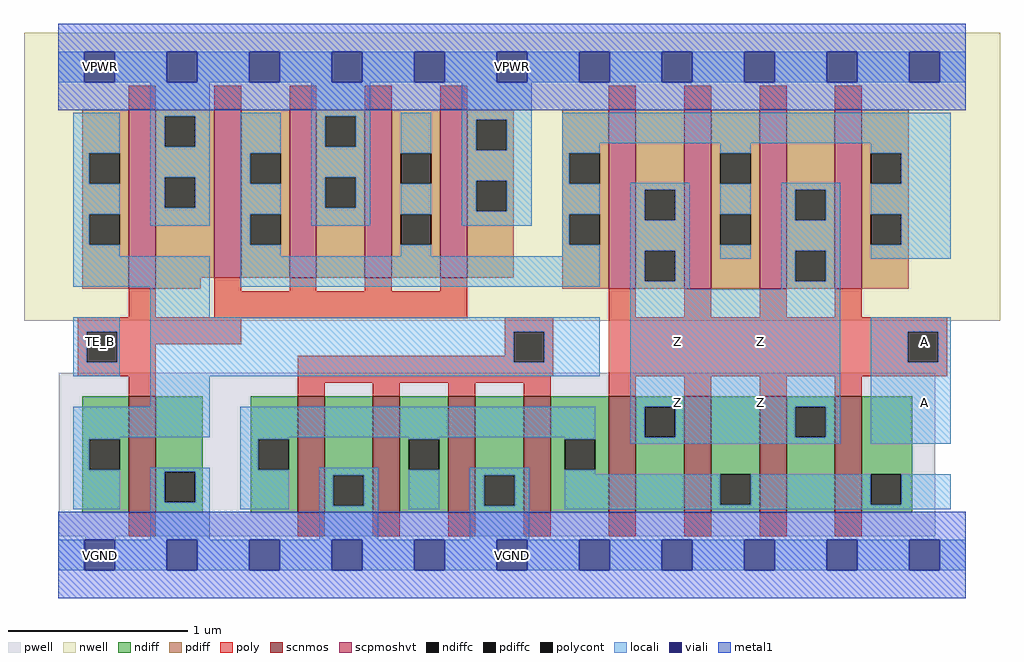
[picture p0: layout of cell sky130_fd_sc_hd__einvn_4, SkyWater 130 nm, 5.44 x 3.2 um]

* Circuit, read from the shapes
.subckt sky130_fd_sc_hd__einvn_4 A TE_B VGND VNB VPB VPWR Z
XM1 VGND TE_B n1 VNB sky130_fd_pr__nfet_01v8 w=0.65 l=0.15
XM2 VGND n1 n2 VNB sky130_fd_pr__nfet_01v8 w=0.65 l=0.15 m=4
XM3 Z A n2 VNB sky130_fd_pr__nfet_01v8 w=0.65 l=0.15 m=4
XM4 VPWR TE_B n1 VPB sky130_fd_pr__pfet_01v8_hvt w=1 l=0.15
XM5 n3 TE_B VPWR VPB sky130_fd_pr__pfet_01v8_hvt w=0.94 l=0.15 m=4
XM6 Z A n3 VPB sky130_fd_pr__pfet_01v8_hvt w=1 l=0.15 m=4
.ends

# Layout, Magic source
magic
tech sky130B
magscale 1 2
<< nwell >>
rect -38 261 1050 582
<< pwell >>
rect 1 21 978 203
rect 30 -17 64 21
<< scnmos >>
rect 79 47 109 177
rect 267 47 297 177
rect 351 47 381 177
rect 435 47 465 177
rect 519 47 549 177
rect 614 47 644 177
rect 698 47 728 177
rect 782 47 812 177
rect 866 47 896 177
<< scpmoshvt >>
rect 79 297 109 497
rect 174 309 204 497
rect 258 309 288 497
rect 342 309 372 497
rect 426 309 456 497
rect 614 297 644 497
rect 698 297 728 497
rect 782 297 812 497
rect 866 297 896 497
<< ndiff >>
rect 27 129 79 177
rect 27 95 35 129
rect 69 95 79 129
rect 27 47 79 95
rect 109 93 161 177
rect 109 59 119 93
rect 153 59 161 93
rect 109 47 161 59
rect 215 129 267 177
rect 215 95 223 129
rect 257 95 267 129
rect 215 47 267 95
rect 297 89 351 177
rect 297 55 307 89
rect 341 55 351 89
rect 297 47 351 55
rect 381 129 435 177
rect 381 95 391 129
rect 425 95 435 129
rect 381 47 435 95
rect 465 89 519 177
rect 465 55 475 89
rect 509 55 519 89
rect 465 47 519 55
rect 549 129 614 177
rect 549 95 565 129
rect 599 95 614 129
rect 549 47 614 95
rect 644 165 698 177
rect 644 131 654 165
rect 688 131 698 165
rect 644 47 698 131
rect 728 90 782 177
rect 728 56 738 90
rect 772 56 782 90
rect 728 47 782 56
rect 812 165 866 177
rect 812 131 822 165
rect 856 131 866 165
rect 812 47 866 131
rect 896 90 952 177
rect 896 56 906 90
rect 940 56 952 90
rect 896 47 952 56
<< pdiff >>
rect 27 448 79 497
rect 27 414 35 448
rect 69 414 79 448
rect 27 380 79 414
rect 27 346 35 380
rect 69 346 79 380
rect 27 297 79 346
rect 109 489 174 497
rect 109 455 119 489
rect 153 455 174 489
rect 109 421 174 455
rect 109 387 119 421
rect 153 387 174 421
rect 109 309 174 387
rect 204 448 258 497
rect 204 414 214 448
rect 248 414 258 448
rect 204 380 258 414
rect 204 346 214 380
rect 248 346 258 380
rect 204 309 258 346
rect 288 489 342 497
rect 288 455 298 489
rect 332 455 342 489
rect 288 421 342 455
rect 288 387 298 421
rect 332 387 342 421
rect 288 309 342 387
rect 372 448 426 497
rect 372 414 382 448
rect 416 414 426 448
rect 372 380 426 414
rect 372 346 382 380
rect 416 346 426 380
rect 372 309 426 346
rect 456 485 508 497
rect 456 451 466 485
rect 500 451 508 485
rect 456 417 508 451
rect 456 383 466 417
rect 500 383 508 417
rect 456 309 508 383
rect 562 448 614 497
rect 562 414 570 448
rect 604 414 614 448
rect 562 380 614 414
rect 562 346 570 380
rect 604 346 614 380
rect 109 297 159 309
rect 562 297 614 346
rect 644 407 698 497
rect 644 373 654 407
rect 688 373 698 407
rect 644 339 698 373
rect 644 305 654 339
rect 688 305 698 339
rect 644 297 698 305
rect 728 448 782 497
rect 728 414 738 448
rect 772 414 782 448
rect 728 380 782 414
rect 728 346 738 380
rect 772 346 782 380
rect 728 297 782 346
rect 812 407 866 497
rect 812 373 822 407
rect 856 373 866 407
rect 812 339 866 373
rect 812 305 822 339
rect 856 305 866 339
rect 812 297 866 305
rect 896 448 948 497
rect 896 414 906 448
rect 940 414 948 448
rect 896 380 948 414
rect 896 346 906 380
rect 940 346 948 380
rect 896 297 948 346
<< ndiffc >>
rect 35 95 69 129
rect 119 59 153 93
rect 223 95 257 129
rect 307 55 341 89
rect 391 95 425 129
rect 475 55 509 89
rect 565 95 599 129
rect 654 131 688 165
rect 738 56 772 90
rect 822 131 856 165
rect 906 56 940 90
<< pdiffc >>
rect 35 414 69 448
rect 35 346 69 380
rect 119 455 153 489
rect 119 387 153 421
rect 214 414 248 448
rect 214 346 248 380
rect 298 455 332 489
rect 298 387 332 421
rect 382 414 416 448
rect 382 346 416 380
rect 466 451 500 485
rect 466 383 500 417
rect 570 414 604 448
rect 570 346 604 380
rect 654 373 688 407
rect 654 305 688 339
rect 738 414 772 448
rect 738 346 772 380
rect 822 373 856 407
rect 822 305 856 339
rect 906 414 940 448
rect 906 346 940 380
<< poly >>
rect 79 497 109 523
rect 174 497 204 523
rect 258 497 288 523
rect 342 497 372 523
rect 426 497 456 523
rect 614 497 644 523
rect 698 497 728 523
rect 782 497 812 523
rect 866 497 896 523
rect 79 265 109 297
rect 174 294 204 309
rect 258 294 288 309
rect 342 294 372 309
rect 426 294 456 309
rect 174 265 456 294
rect 614 265 644 297
rect 698 265 728 297
rect 782 265 812 297
rect 866 265 896 297
rect 22 264 456 265
rect 22 249 204 264
rect 22 215 32 249
rect 66 235 204 249
rect 498 249 552 265
rect 66 215 109 235
rect 498 222 508 249
rect 22 199 109 215
rect 79 177 109 199
rect 267 215 508 222
rect 542 215 552 249
rect 267 199 552 215
rect 614 249 991 265
rect 614 215 947 249
rect 981 215 991 249
rect 614 199 991 215
rect 267 192 549 199
rect 267 177 297 192
rect 351 177 381 192
rect 435 177 465 192
rect 519 177 549 192
rect 614 177 644 199
rect 698 177 728 199
rect 782 177 812 199
rect 866 177 896 199
rect 79 21 109 47
rect 267 21 297 47
rect 351 21 381 47
rect 435 21 465 47
rect 519 21 549 47
rect 614 21 644 47
rect 698 21 728 47
rect 782 21 812 47
rect 866 21 896 47
<< polycont >>
rect 32 215 66 249
rect 508 215 542 249
rect 947 215 981 249
<< locali >>
rect 0 527 29 561
rect 63 527 121 561
rect 155 527 213 561
rect 247 527 305 561
rect 339 527 397 561
rect 431 527 489 561
rect 523 527 581 561
rect 615 527 673 561
rect 707 527 765 561
rect 799 527 857 561
rect 891 527 949 561
rect 983 527 1012 561
rect 17 448 69 493
rect 17 414 35 448
rect 17 380 69 414
rect 17 346 35 380
rect 103 489 169 527
rect 103 455 119 489
rect 153 455 169 489
rect 103 421 169 455
rect 103 387 119 421
rect 153 387 169 421
rect 103 367 169 387
rect 203 448 248 493
rect 203 414 214 448
rect 203 380 248 414
rect 17 333 69 346
rect 203 346 214 380
rect 282 489 348 527
rect 282 455 298 489
rect 332 455 348 489
rect 282 421 348 455
rect 282 387 298 421
rect 332 387 348 421
rect 282 367 348 387
rect 382 448 416 493
rect 382 380 416 414
rect 203 333 248 346
rect 450 485 528 527
rect 450 451 466 485
rect 500 451 528 485
rect 450 417 528 451
rect 450 383 466 417
rect 500 383 528 417
rect 450 367 528 383
rect 562 459 995 493
rect 562 448 604 459
rect 562 414 570 448
rect 738 448 772 459
rect 562 380 604 414
rect 382 333 416 346
rect 562 346 570 380
rect 562 333 604 346
rect 17 299 169 333
rect 203 299 604 333
rect 638 407 704 415
rect 638 373 654 407
rect 688 373 704 407
rect 638 339 704 373
rect 638 305 654 339
rect 688 305 704 339
rect 906 448 995 459
rect 738 380 772 414
rect 738 330 772 346
rect 806 407 872 415
rect 806 373 822 407
rect 856 373 872 407
rect 806 339 872 373
rect 103 265 169 299
rect 638 296 704 305
rect 806 305 822 339
rect 856 305 872 339
rect 940 414 995 448
rect 906 380 995 414
rect 940 346 995 380
rect 906 330 995 346
rect 806 296 872 305
rect 17 249 69 265
rect 17 215 32 249
rect 66 215 69 249
rect 17 199 69 215
rect 103 249 604 265
rect 103 215 508 249
rect 542 215 604 249
rect 103 199 604 215
rect 103 165 169 199
rect 638 165 872 296
rect 17 131 169 165
rect 203 131 599 165
rect 17 129 69 131
rect 17 95 35 129
rect 203 129 257 131
rect 17 51 69 95
rect 103 93 169 97
rect 103 59 119 93
rect 153 59 169 93
rect 103 17 169 59
rect 203 95 223 129
rect 391 129 425 131
rect 203 51 257 95
rect 291 89 357 97
rect 291 55 307 89
rect 341 55 357 89
rect 291 17 357 55
rect 565 129 599 131
rect 391 51 425 95
rect 459 89 525 97
rect 459 55 475 89
rect 509 55 525 89
rect 459 17 525 55
rect 638 131 654 165
rect 688 131 822 165
rect 856 131 872 165
rect 638 124 872 131
rect 906 249 995 265
rect 906 215 947 249
rect 981 215 995 249
rect 906 124 995 215
rect 565 90 599 95
rect 565 56 738 90
rect 772 56 906 90
rect 940 56 995 90
rect 565 51 995 56
rect 0 -17 29 17
rect 63 -17 121 17
rect 155 -17 213 17
rect 247 -17 305 17
rect 339 -17 397 17
rect 431 -17 489 17
rect 523 -17 581 17
rect 615 -17 673 17
rect 707 -17 765 17
rect 799 -17 857 17
rect 891 -17 949 17
rect 983 -17 1012 17
<< viali >>
rect 29 527 63 561
rect 121 527 155 561
rect 213 527 247 561
rect 305 527 339 561
rect 397 527 431 561
rect 489 527 523 561
rect 581 527 615 561
rect 673 527 707 561
rect 765 527 799 561
rect 857 527 891 561
rect 949 527 983 561
rect 29 -17 63 17
rect 121 -17 155 17
rect 213 -17 247 17
rect 305 -17 339 17
rect 397 -17 431 17
rect 489 -17 523 17
rect 581 -17 615 17
rect 673 -17 707 17
rect 765 -17 799 17
rect 857 -17 891 17
rect 949 -17 983 17
<< metal1 >>
rect 0 561 1012 592
rect 0 527 29 561
rect 63 527 121 561
rect 155 527 213 561
rect 247 527 305 561
rect 339 527 397 561
rect 431 527 489 561
rect 523 527 581 561
rect 615 527 673 561
rect 707 527 765 561
rect 799 527 857 561
rect 891 527 949 561
rect 983 527 1012 561
rect 0 496 1012 527
rect 0 17 1012 48
rect 0 -17 29 17
rect 63 -17 121 17
rect 155 -17 213 17
rect 247 -17 305 17
rect 339 -17 397 17
rect 431 -17 489 17
rect 523 -17 581 17
rect 615 -17 673 17
rect 707 -17 765 17
rect 799 -17 857 17
rect 891 -17 949 17
rect 983 -17 1012 17
rect 0 -48 1012 -17
<< labels >>
flabel locali s 30 221 64 255 0 FreeSans 200 0 0 0 TE_B
port 2 nsew signal input
flabel locali s 766 153 800 187 0 FreeSans 200 0 0 0 Z
port 7 nsew signal output
flabel locali s 766 221 800 255 0 FreeSans 200 0 0 0 Z
port 7 nsew signal output
flabel locali s 674 221 708 255 0 FreeSans 200 0 0 0 Z
port 7 nsew signal output
flabel locali s 674 153 708 187 0 FreeSans 200 0 0 0 Z
port 7 nsew signal output
flabel locali s 949 153 983 187 0 FreeSans 200 0 0 0 A
port 1 nsew signal input
flabel locali s 949 221 983 255 0 FreeSans 200 0 0 0 A
port 1 nsew signal input
flabel metal1 s 30 -17 64 17 0 FreeSans 200 0 0 0 VGND
port 3 nsew ground bidirectional abutment
flabel metal1 s 30 527 64 561 0 FreeSans 200 0 0 0 VPWR
port 6 nsew power bidirectional abutment
flabel nwell s 30 527 64 561 0 FreeSans 200 0 0 0 VPB
port 5 nsew power bidirectional
flabel pwell s 30 -17 64 17 0 FreeSans 200 0 0 0 VNB
port 4 nsew ground bidirectional
rlabel comment s 0 0 0 0 4 einvn_4
rlabel metal1 s 0 -48 1012 48 1 VGND
port 3 nsew ground bidirectional abutment
rlabel metal1 s 0 496 1012 592 1 VPWR
port 6 nsew power bidirectional abutment
<< properties >>
string FIXED_BBOX 0 0 1012 544
string GDS_END 2964622
string GDS_FILE $PDKPATH/libs.ref/sky130_fd_sc_hd/gds/sky130_fd_sc_hd.gds
string GDS_START 2956844
string LEFclass CORE
string LEFsite unithd
string LEFsymmetry X Y R90
string path 0.000 13.600 25.300 13.600 
<< end >>
